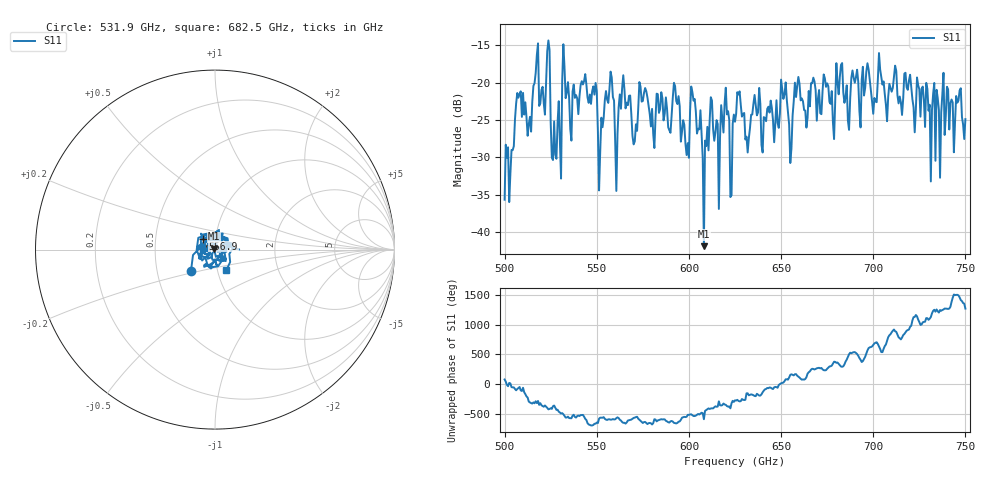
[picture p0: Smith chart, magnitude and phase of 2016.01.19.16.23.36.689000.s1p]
!Created with skrf (http://scikit-rf.org).
# GHz S RI R 50.0
!freq ReS11 ImS11
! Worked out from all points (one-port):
!   401 points, 500 GHz to 750 GHz, reference 50 ohm
!   lowest |S11| = -41.9 dB at 608.1 GHz (marker M1), VSWR 1.02, Z = 49.4 + j0.523 ohm
!   |S11| at or under -10 dB: start of sweep to end of sweep
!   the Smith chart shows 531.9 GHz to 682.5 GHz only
!   S11 on the Smith chart (normalised r, x): 531.9 GHz: 0.74, -0.19; 556.9 GHz: 0.87, +0.11; 682.5 GHz: 1.10, -0.26
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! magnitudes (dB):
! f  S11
! 500 GHz  -35.7
! 507.5 GHz  -22.0
! 513.1 GHz  -25.6
! 516.9 GHz  -18.7
! 523.8 GHz  -14.4
! 526.9 GHz  -25.2
! 531.2 GHz  -19.7
! 531.9 GHz  -14.9
! 548.8 GHz  -21.6
! 551.9 GHz  -29.2
! 556.9 GHz  -20.9
! 560 GHz  -28.0
! 562.5 GHz  -21.6
! 593.8 GHz  -22.9
! 598.8 GHz  -29.7
! 602.5 GHz  -22.4
! 608.1 GHz  -41.9
! 611.2 GHz  -25.1
! 620.6 GHz  -24.3
! 623.8 GHz  -25.5
! 625 GHz  -25.3
! 656.2 GHz  -24.4
! 658.8 GHz  -20.5
! 678.1 GHz  -25.3
! 682.5 GHz  -17.6
! 687.5 GHz  -22.1
! 718.8 GHz  -21.0
! 750 GHz  -24.9
